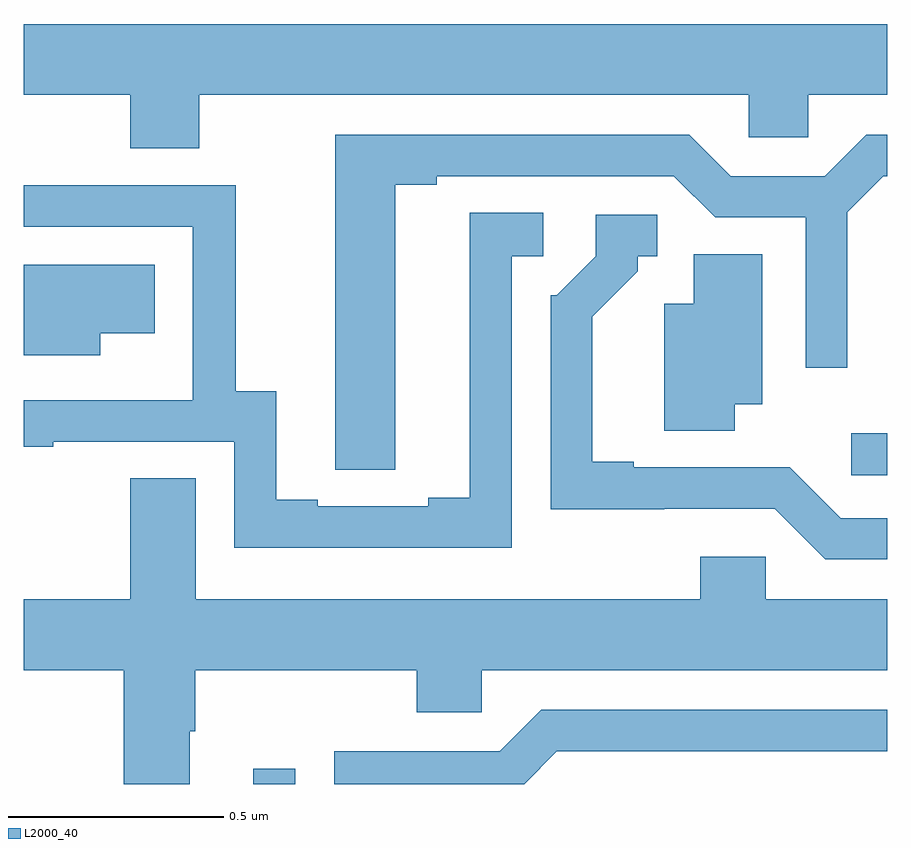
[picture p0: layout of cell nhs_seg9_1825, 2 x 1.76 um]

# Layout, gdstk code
import gdstk
lib = gdstk.Library(unit=1e-6, precision=1e-09)
def R(c, l, rs):  # rectangles x0, y0, x1, y1
    for r in rs: c.add(gdstk.rectangle(r[:2], r[2:], *l))
def P(c, l, *ps):  # polygons
    for p in ps: c.add(gdstk.Polygon(p, *l))
L2000_40 = (2000, 40)

nhs_seg9_1825 = lib.new_cell('nhs_seg9_1825')
R(nhs_seg9_1825, L2000_40, [(133.532,1185.5,133.629,1185.535), (134.916,1186.215,135,1186.312)])
P(nhs_seg9_1825, L2000_40, [(133.407,1187.096),(134.679,1187.096),(134.679,1186.998),(134.817,1186.998),(134.817,1187.096),(135,1187.096),(135,1187.26),(133,1187.26),(133,1187.096),(133.247,1187.096),(133.247,1186.972),(133.407,1186.972)],
  [(133.861,1186.888),(133.957,1186.888),(133.957,1186.908),(134.505,1186.908),(134.601,1186.812),(134.811,1186.812),(134.811,1186.464),(134.907,1186.464),(134.907,1186.824),(134.991,1186.908),(135,1186.908),(135,1187.004),(134.951,1187.004),(134.855,1186.908),(134.637,1186.908),(134.541,1187.004),(133.721,1187.004),(133.721,1186.336),(133.722,1186.336),(133.722,1186.228),(133.861,1186.228)],
  [(134.13,1186.722),(134.203,1186.722),(134.203,1186.823),(134.033,1186.823),(134.033,1186.163),(133.937,1186.163),(133.937,1186.143),(133.681,1186.143),(133.681,1186.158),(133.585,1186.158),(133.585,1186.409),(133.491,1186.409),(133.491,1186.887),(133,1186.887),(133,1186.791),(133.392,1186.791),(133.392,1186.39),(133.391,1186.39),(133.391,1186.389),(133,1186.389),(133,1186.281),(133.069,1186.281),(133.069,1186.293),(133.488,1186.293),(133.488,1186.047),(134.13,1186.047)],
  [(135,1186.116),(134.892,1186.116),(134.774,1186.234),(134.678,1186.234),(134.678,1186.233),(134.413,1186.233),(134.413,1186.246),(134.317,1186.246),(134.317,1186.582),(134.422,1186.687),(134.422,1186.722),(134.467,1186.722),(134.467,1186.818),(134.325,1186.818),(134.325,1186.722),(134.235,1186.632),(134.22,1186.632),(134.22,1186.136),(134.483,1186.136),(134.483,1186.137),(134.739,1186.137),(134.856,1186.02),(135,1186.02)],
  [(134.647,1186.379),(134.71,1186.379),(134.71,1186.727),(134.552,1186.727),(134.552,1186.612),(134.483,1186.612),(134.483,1186.318),(134.647,1186.318)],
  [(133.177,1186.544),(133.303,1186.544),(133.303,1186.702),(133,1186.702),(133,1186.493),(133.177,1186.493)],
  [(133.384,1185.622),(133.397,1185.622),(133.397,1185.764),(133.91,1185.764),(133.91,1185.666),(134.061,1185.666),(134.061,1185.764),(135,1185.764),(135,1185.928),(134.718,1185.928),(134.718,1186.026),(134.567,1186.026),(134.567,1185.928),(133.399,1185.928),(133.399,1186.208),(133.247,1186.208),(133.247,1185.928),(133,1185.928),(133,1185.764),(133.232,1185.764),(133.232,1185.5),(133.384,1185.5)],
  [(134.235,1185.576),(135,1185.576),(135,1185.672),(134.199,1185.672),(134.103,1185.576),(133.719,1185.576),(133.719,1185.5),(134.159,1185.5)])

lib.write_gds('nhs_seg9_1825.gds')
